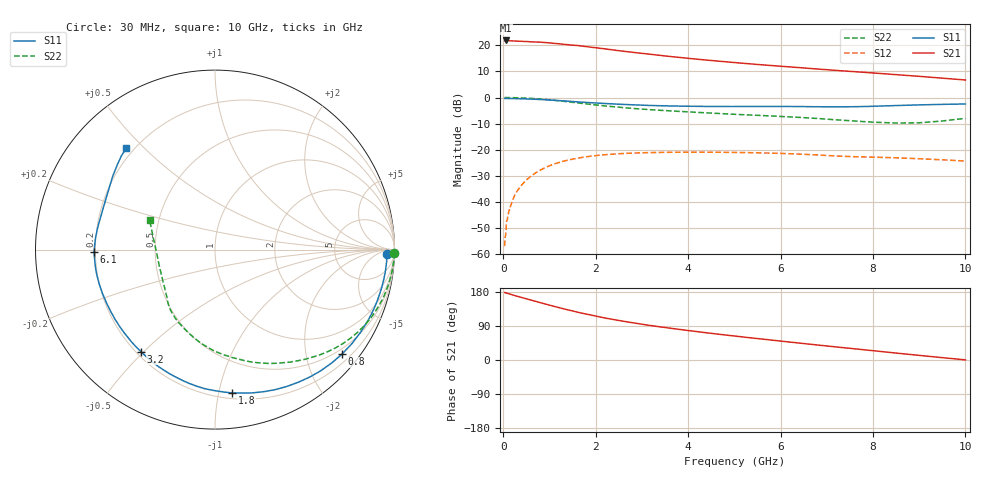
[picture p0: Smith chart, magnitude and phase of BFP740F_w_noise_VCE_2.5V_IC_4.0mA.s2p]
! Infineon Technologies  Discrete & RF Semiconductors
! BFP740F
! VCE =  2.5 V,  IC =  4.0 mA
! Common Emitter S-Parameters:  Oct 2012
# GHz  S  MA  R  50
!  f  S11  S21  S12  S22
! GHz  MAG  ANG  MAG  ANG  MAG  ANG  MAG  ANG
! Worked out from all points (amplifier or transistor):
!   99 points, 30 MHz to 10 GHz, reference 50 ohm
!   highest |S21| = 21.9 dB at 50 MHz (marker M1)
!   |S21| within 3 dB of that: start of sweep to 2.092 GHz
!   unconditionally stable (mu >= 1): 7.949 GHz to end of sweep
!   at 350 MHz: K = 0.02, MSG = 28.1 dB, |S12| = -34.7 dB
!   at 3.5 GHz: K = 0.30, MSG = 18.5 dB, |S12| = -21.0 dB
!   at 10 GHz: K = 1.26, MAG = 12.5 dB, |S12| = -24.4 dB
!   lowest NFmin = 0.36 dB at 450 MHz
!   S11 on the Smith chart (normalised r, x): 30 MHz: 34, -22; 800 MHz: 0.38, -2.73; 1.8 GHz: 0.24, -1.10; 3.2 GHz: 0.22, -0.49; 6.1 GHz: 0.20, -0.01; 10 GHz: 0.17, +0.44
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0.03  0.9593 -1.5  12.31 178.0  0.0014 77.0  0.9989 -1.0
0.05  0.958 -2.4  12.45 177.5  0.0022 83.9  0.9985 -1.7
0.07  0.9585 -3.6  12.43 176.8  0.0041 83.4  0.9985 -2.4
0.1  0.9577 -5.1  12.38 175.6  0.0056 85.2  0.9977 -3.5
0.25  0.9529 -12.6  12.13 170.1  0.0134 82.9  0.9908 -8.6
0.4  0.9453 -20.0  12.03 164.9  0.0209 77.6  0.98 -13.6
0.8  0.9159 -39.6  11.56 151.4  0.0403 65.5  0.9345 -26.8
1.2  0.8726 -57.9  10.75 138.4  0.0563 53.6  0.8652 -39.4
1.6  0.8251 -75.4  9.984 126.4  0.0681 43.4  0.7896 -50.8
1.7  0.8134 -79.2  9.723 123.7  0.0706 41.1  0.7707 -53.5
1.8  0.8045 -83.1  9.493 121.1  0.0728 38.8  0.7542 -56.2
2.1  0.7775 -94.1  8.796 113.4  0.0785 32.4  0.7055 -64.1
2.4  0.7514 -103.9  8.148 106.5  0.0821 26.7  0.6636 -71.1
2.7  0.7304 -112.6  7.551 100.2  0.085 22.0  0.6285 -77.1
3.2  0.7025 -126.0  6.74 90.7  0.0877 14.9  0.5827 -86.3
3.4  0.6953 -130.7  6.439 87.3  0.0882 12.3  0.5678 -89.6
4.2  0.6765 -147.4  5.44 74.8  0.0892 3.7  0.518 -100.4
5.1  0.6731 -163.6  4.61 62.0  0.0879 -4.4  0.4718 -111.4
6.1  0.6727 -178.7  3.926 48.6  0.0839 -12.4  0.4289 -123.4
6.7  0.666 171.8  3.578 40.9  0.0796 -16.5  0.4003 -130.4
8.5  0.7007 144.5  2.747 18.3  0.0696 -21.8  0.3235 -163.5
10  0.7518 131.0  2.169 0.4  0.0603 -25.1  0.3987 155.8
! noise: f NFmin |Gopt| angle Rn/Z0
0.45  0.36  0.43  8  0.21
0.9  0.42  0.43  14  0.18
1.5  0.5  0.42  25  0.15
1.9  0.56  0.41  34  0.14
2.4  0.63  0.38  43  0.14
3.5  0.79  0.35  66  0.13
5.5  1.07  0.25  111  0.22
10  1.64  0.44  -130  0.08
